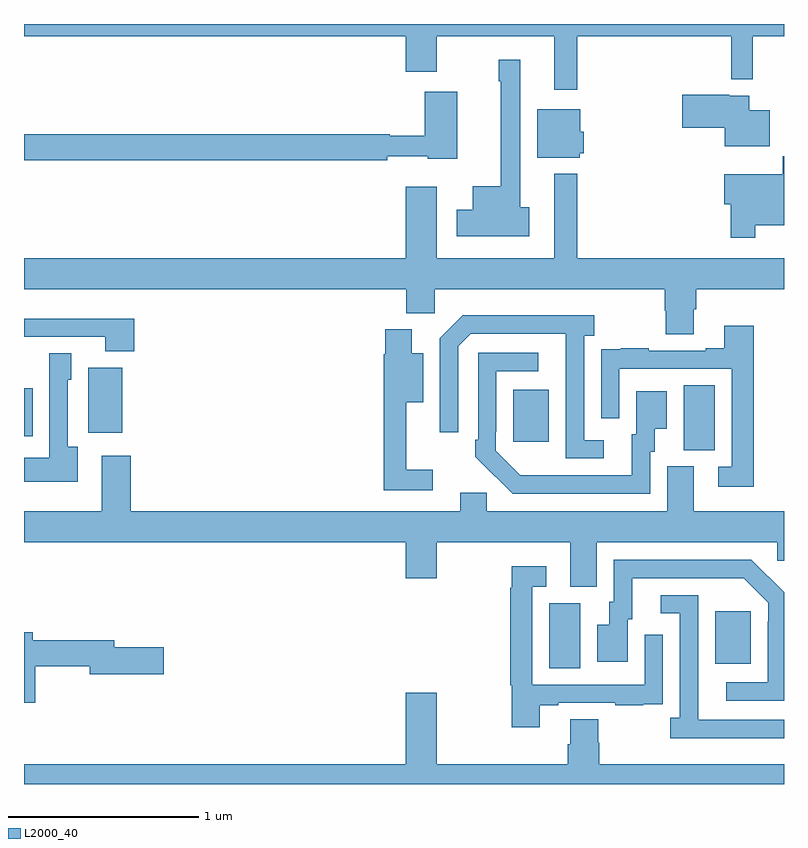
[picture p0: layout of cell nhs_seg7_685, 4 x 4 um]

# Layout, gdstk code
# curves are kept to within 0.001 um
import gdstk
lib = gdstk.Library(unit=1e-6, precision=1e-09)
def R(c, l, rs):  # rectangles x0, y0, x1, y1
    for r in rs: c.add(gdstk.rectangle(r[:2], r[2:], *l))
def P(c, l, *ps):  # polygons
    for p in ps: c.add(gdstk.Polygon(p, *l))
L2000_40 = (2000, 40)

nhs_seg7_685 = lib.new_cell('nhs_seg7_685')
R(nhs_seg7_685, L2000_40, [(165.764,1010.608,165.928,1010.952), (166.637,1010.633,166.825,1010.908), (166.472,1011.757,166.636,1012.1), (165.575,1011.801,165.763,1012.075), (163,1011.83,163.045,1012.084), (163.337,1011.848,163.516,1012.192)])
P(nhs_seg7_685, L2000_40, [(165.913,1013.936),(166.722,1013.936),(166.722,1013.708),(166.835,1013.708),(166.835,1013.936),(167,1013.936),(167,1014),(163,1014),(163,1013.936),(165.008,1013.936),(165.008,1013.748),(165.172,1013.748),(165.172,1013.936),(165.791,1013.936),(165.791,1013.655),(165.913,1013.655)],
  [(165.658,1013.036),(165.613,1013.036),(165.613,1013.812),(165.499,1013.812),(165.499,1013.699),(165.509,1013.699),(165.509,1013.146),(165.362,1013.146),(165.362,1013.023),(165.278,1013.023),(165.278,1012.883),(165.658,1012.883)],
  [(164.912,1013.303),(165.126,1013.303),(165.126,1013.291),(165.28,1013.291),(165.28,1013.644),(165.11,1013.644),(165.11,1013.413),(164.926,1013.413),(164.926,1013.42),(163,1013.42),(163,1013.284),(164.912,1013.284)],
  [(166.924,1013.545),(166.816,1013.545),(166.816,1013.623),(166.712,1013.623),(166.712,1013.628),(166.464,1013.628),(166.464,1013.453),(166.688,1013.453),(166.688,1013.357),(166.924,1013.357)],
  [(165.924,1013.319),(165.946,1013.319),(165.946,1013.433),(165.928,1013.433),(165.928,1013.551),(165.701,1013.551),(165.701,1013.297),(165.924,1013.297)],
  [(166.849,1012.94),(167,1012.94),(167,1013.305),(166.993,1013.305),(166.993,1013.209),(166.686,1013.209),(166.686,1013.051),(166.72,1013.051),(166.72,1012.875),(166.849,1012.875)],
  [(166.525,1012.498),(166.538,1012.498),(166.538,1012.604),(167,1012.604),(167,1012.768),(165.913,1012.768),(165.913,1013.212),(165.791,1013.212),(165.791,1012.768),(165.172,1012.768),(165.172,1013.143),(165.008,1013.143),(165.008,1012.768),(163,1012.768),(163,1012.604),(165.011,1012.604),(165.011,1012.478),(165.162,1012.478),(165.162,1012.604),(166.373,1012.604),(166.373,1012.491),(166.378,1012.491),(166.378,1012.366),(166.525,1012.366)],
  [(166.051,1011.81),(165.948,1011.81),(165.948,1012.358),(166,1012.358),(166,1012.468),(165.31,1012.468),(165.189,1012.347),(165.189,1011.852),(165.285,1011.852),(165.285,1012.305),(165.351,1012.371),(165.851,1012.371),(165.852,1011.714),(166.051,1011.714)],
  [(163.58,1012.45),(163,1012.45),(163,1012.353),(163.427,1012.353),(163.427,1012.277),(163.58,1012.277)],
  [(166.841,1012.411),(166.685,1012.411),(166.685,1012.294),(166.589,1012.294),(166.589,1012.281),(166.289,1012.281),(166.289,1012.294),(166.141,1012.294),(166.141,1012.287),(166.039,1012.287),(166.039,1012.178),(166.038,1012.178),(166.038,1011.924),(166.134,1011.924),(166.134,1012.185),(166.725,1012.185),(166.725,1011.669),(166.653,1011.669),(166.653,1011.564),(166.841,1011.564)],
  [(165.151,1011.655),(165.011,1011.655),(165.011,1012.01),(165.1,1012.01),(165.1,1012.267),(165.04,1012.267),(165.04,1012.393),(164.9,1012.393),(164.9,1012.263),(164.893,1012.263),(164.893,1011.546),(165.151,1011.546)],
  [(166.296,1011.75),(166.321,1011.75),(166.321,1011.869),(166.384,1011.869),(166.384,1012.066),(166.223,1012.066),(166.223,1011.84),(166.199,1011.84),(166.199,1011.624),(165.612,1011.625),(165.483,1011.753),(165.483,1011.853),(165.486,1011.853),(165.486,1012.173),(165.706,1012.173),(165.706,1012.269),(165.39,1012.269),(165.39,1011.811),(165.375,1011.811),(165.375,1011.723),(165.572,1011.528),(166.296,1011.528)],
  [(163.282,1011.774),(163.23,1011.774),(163.23,1012.128),(163.249,1012.128),(163.249,1012.268),(163.134,1012.268),(163.134,1011.718),(163,1011.718),(163,1011.59),(163.282,1011.59)],
  [(166.015,1011.272),(166.965,1011.272),(166.965,1011.174),(167,1011.174),(167,1011.436),(166.525,1011.436),(166.525,1011.672),(166.385,1011.672),(166.385,1011.436),(165.435,1011.436),(165.435,1011.534),(165.296,1011.534),(165.296,1011.436),(163.562,1011.436),(163.562,1011.727),(163.409,1011.727),(163.409,1011.436),(163,1011.436),(163,1011.272),(165.008,1011.272),(165.008,1011.084),(165.172,1011.084),(165.172,1011.272),(165.875,1011.272),(165.875,1011.037),(166.015,1011.037)],
  [(167,1011.01),(166.828,1011.18),(166.104,1011.18),(166.104,1010.958),(166.079,1010.958),(166.079,1010.839),(166.016,1010.839),(166.016,1010.643),(166.177,1010.643),(166.177,1010.868),(166.201,1010.868),(166.201,1011.084),(166.789,1011.084),(166.917,1010.955),(166.917,1010.855),(166.914,1010.855),(166.914,1010.535),(166.695,1010.535),(166.695,1010.439),(167,1010.439)],
  [(165.715,1010.415),(165.811,1010.415),(165.811,1010.427),(166.111,1010.427),(166.111,1010.415),(166.259,1010.415),(166.259,1010.421),(166.361,1010.421),(166.361,1010.53),(166.362,1010.53),(166.362,1010.785),(166.266,1010.785),(166.266,1010.523),(165.675,1010.523),(165.675,1011.039),(165.748,1011.039),(165.748,1011.145),(165.567,1011.145),(165.567,1011.032),(165.559,1011.032),(165.559,1010.52),(165.567,1010.52),(165.567,1010.298),(165.715,1010.298)],
  [(167,1010.337),(166.549,1010.337),(166.549,1010.537),(166.548,1010.537),(166.548,1010.994),(166.35,1010.994),(166.35,1010.898),(166.452,1010.898),(166.452,1010.35),(166.401,1010.35),(166.401,1010.24),(167,1010.24)],
  [(163.058,1010.62),(163.346,1010.62),(163.346,1010.578),(163.735,1010.578),(163.735,1010.72),(163.474,1010.72),(163.474,1010.756),(163.045,1010.756),(163.045,1010.8),(163,1010.8),(163,1010.427),(163.058,1010.427)],
  [(167,1010.104),(166.028,1010.104),(166.028,1010.217),(166.023,1010.217),(166.023,1010.342),(165.875,1010.342),(165.875,1010.21),(165.863,1010.21),(165.863,1010.104),(165.172,1010.104),(165.172,1010.479),(165.008,1010.479),(165.008,1010.104),(163,1010.104),(163,1010),(167,1010)])

lib.write_gds('nhs_seg7_685.gds')
